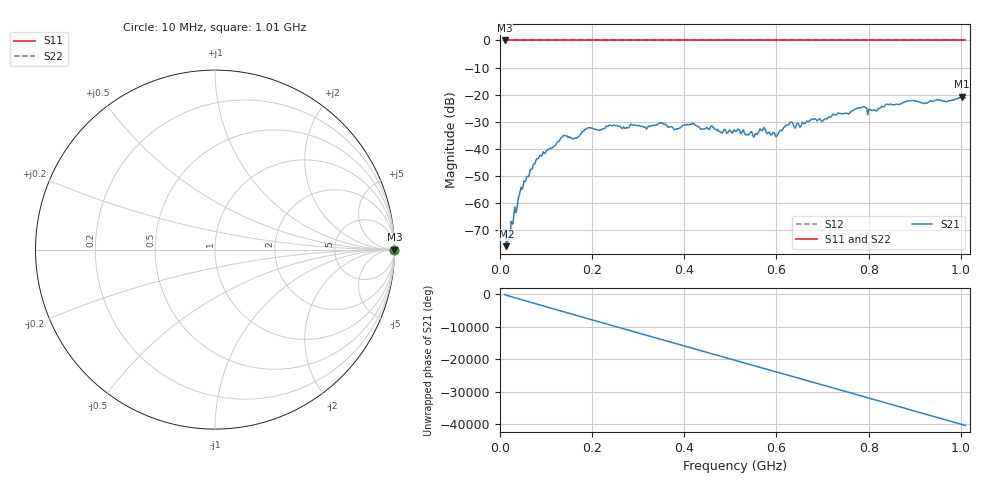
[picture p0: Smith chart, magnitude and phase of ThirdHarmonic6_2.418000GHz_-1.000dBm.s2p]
! 8/17/2025 4:06:21 AM
! C:\ANRITSUVNA\TEMP\TEMP.S2P
! CHANNEL.1
! TR.MEASUREMENT
! RAW.DATA
! RF.CORRECTION.OFF
! AVERAGING.OFF
! IF.BANDWIDTH: 5KHZ
! SWEEPTYPE:  FREQ.SWEEP(Linear)
! Reference Plane Port Info
! PORT:  PORT1  PORT2
! DISTANCE:  0  m  0  m
! TIME:  0  s  0  s
! PHASE.OFFSET:  0  deg.  0  deg.
! LOSS:  0  dB  0  dB
! REF.LOSS:  0  dB  0  dB
! REF.FREQ:  0  Hz  0  Hz
! Power Info
! POWER:  -20  dBm  -20  dBm
! EFF.POWER:  -20  dBm  -20  dBm
! SOURCE.ATTEN:  0  dB  0  dB
! TEST.ATTEN:  0  dB  0  dB
# GHZ S RI R 50.0
! FREQ.GHZ  S11RE  S11IM  S21RE  S21IM  S12RE  S12IM  S22RE  S22IM
!; PortSelection: Port_12
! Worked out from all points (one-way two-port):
!   501 points, 10 MHz to 1.01 GHz, reference 50 ohm
!   highest |S21| = -20.79 dB at 1.002 GHz (marker M1); lowest = -76.1 dB at 14 MHz (marker M2)
!   lowest |S11| = 0.0 dB at 10 MHz (marker M3)
!   |S11| at or under -10 dB: nowhere
!   |S22| runs from 0.0 to 0.0 dB; largest |S21 - S12| = 1.1
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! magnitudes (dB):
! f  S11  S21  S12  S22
! 10 MHz  0.0  -70.0  0.0  0.0
! 14 MHz  0.0  -76.1  0.0  0.0
! 18 MHz  0.0  -74.1  0.0  0.0
! 28 MHz  0.0  -67.9  0.0  0.0
! 48 MHz  0.0  -55.0  0.0  0.0
! 82 MHz  0.0  -43.7  0.0  0.0
! 136 MHz  0.0  -35.7  0.0  0.0
! 162 MHz  0.0  -36.2  0.0  0.0
! 178 MHz  0.0  -33.8  0.0  0.0
! 194 MHz  0.0  -32.3  0.0  0.0
! 344 MHz  0.0  -30.7  0.0  0.0
! 382 MHz  0.0  -32.7  0.0  0.0
! 510 MHz  0.0  -33.3  0.0  0.0
! 554 MHz  0.0  -34.4  0.0  0.0
! 572 MHz  0.0  -32.2  0.0  0.0
! 600 MHz  0.0  -35.6  0.0  0.0
! 630 MHz  0.0  -30.2  0.0  0.0
! 652 MHz  0.0  -32.0  0.0  0.0
! 678 MHz  0.0  -29.0  0.0  0.0
! 844 MHz  0.0  -23.7  0.0  0.0
! 1.002 GHz  0.0  -20.8  0.0  0.0
! 1.01 GHz  0.0  -21.2  0.0  0.0
